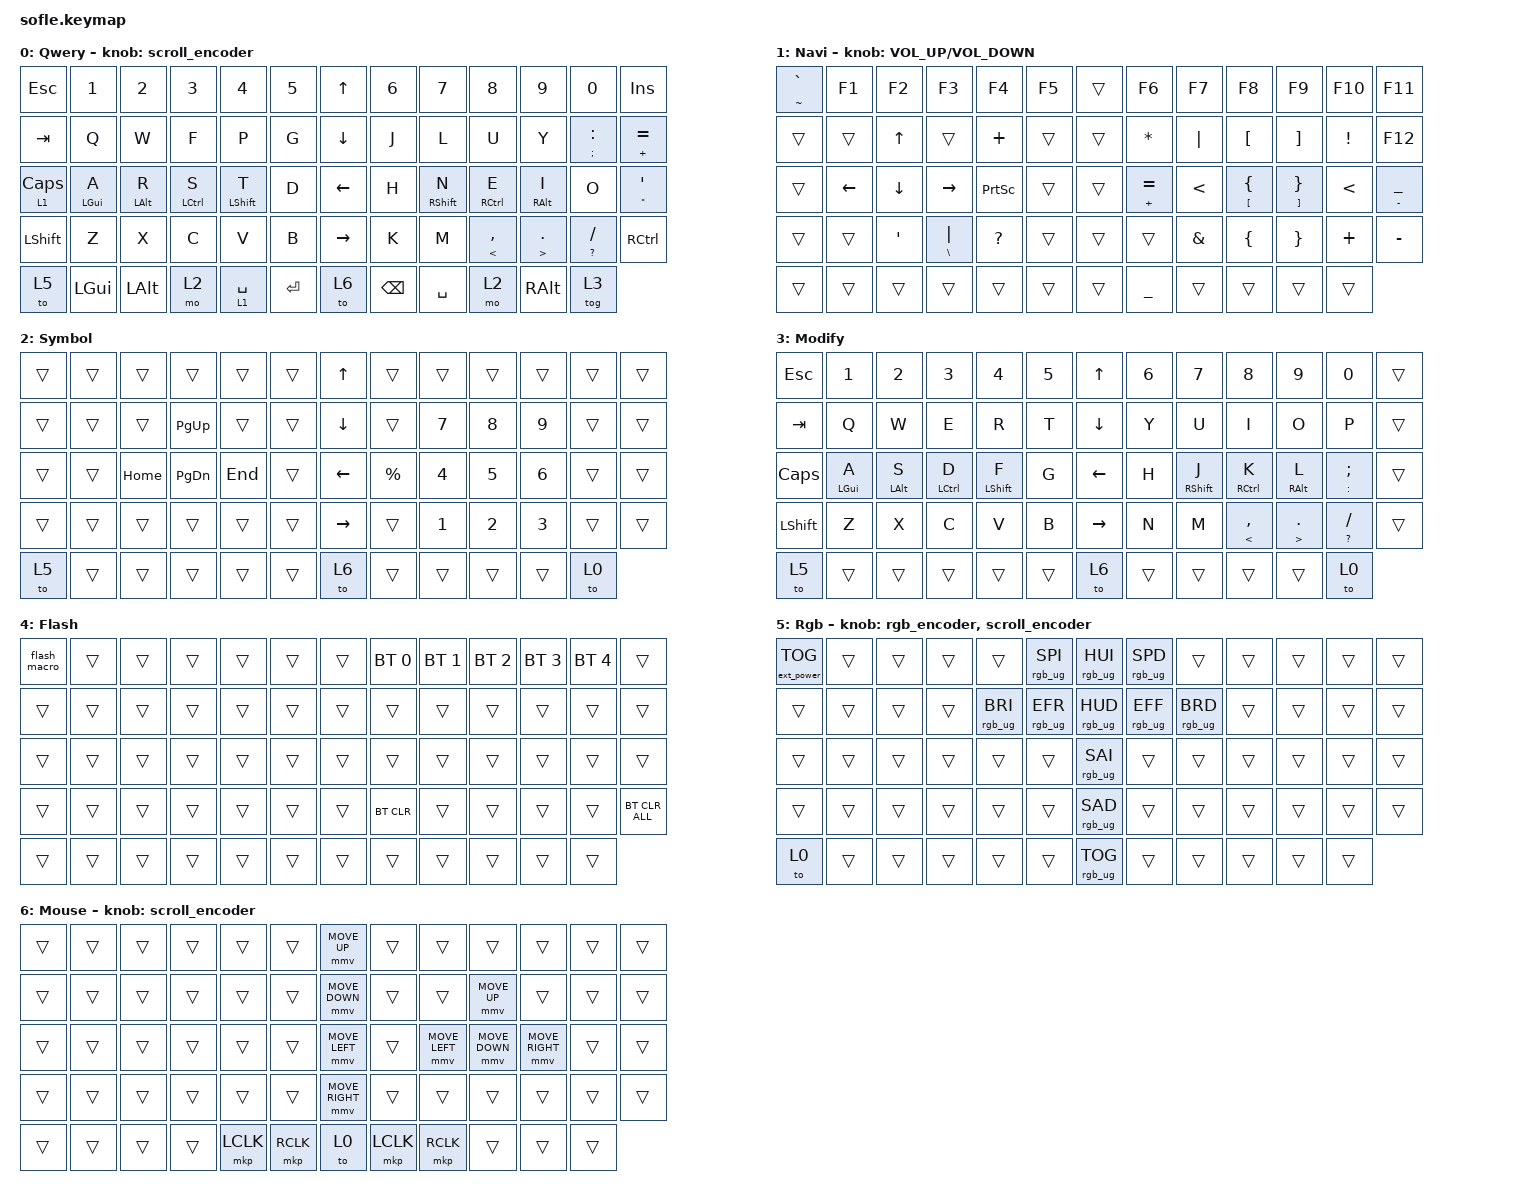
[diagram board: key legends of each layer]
#define ZMK_POINTING_DEFAULT_MOVE_VAL 1200  // 600
#define ZMK_POINTING_DEFAULT_SCRL_VAL 25   // 10

#include <input/processors.dtsi>
#include <zephyr/dt-bindings/input/input-event-codes.h>
#include <behaviors.dtsi>
#include <dt-bindings/zmk/bt.h>
#include <dt-bindings/zmk/ext_power.h>
#include <dt-bindings/zmk/keys.h>
#include <dt-bindings/zmk/pointing.h>
#include <dt-bindings/zmk/pointing.h>
#include <dt-bindings/zmk/pointing.h>
#include <dt-bindings/zmk/rgb.h>

&mmv_input_listener { input-processors = <&zip_xy_scaler 2 1>; };

&msc_input_listener { input-processors = <&zip_scroll_scaler 2 1>; };

&msc {
    acceleration-exponent = <1>;      // 0
    time-to-max-speed-ms = <100>;       // 300
    delay-ms = <0>;                   // 0
};

&mmv {
    time-to-max-speed-ms = <500>;
    acceleration-exponent = <1>;
    trigger-period-ms = <16>;
};

/ {
    macros {
        flash_macro: flash_macro {
            compatible = "zmk,behavior-macro";
            #binding-cells = <0>;
            bindings = <&bootloader>;
        };
    };

    behaviors {
        hm: homerow_mods {
            compatible = "zmk,behavior-hold-tap";
            label = "HOMEROW_MODS";
            bindings = <&kp>, <&kp>;

            #binding-cells = <2>;
            tapping-term-ms = <200>;
            quick-tap-ms = <180>;
            flavor = "tap-preferred";
        };

        ltq: ltq {
            compatible = "zmk,behavior-hold-tap";
            label = "LTQ";
            bindings = <&mo>, <&kp>;

            #binding-cells = <2>;
            tapping-term-ms = <200>;
            quick-tap-ms = <180>;
        };

        as: auto_shift {
            compatible = "zmk,behavior-hold-tap";
            label = "AUTO_SHIFT";
            bindings = <&kp>, <&kp>;

            #binding-cells = <2>;
            tapping-term-ms = <135>;
            quick-tap-ms = <0>;
        };

        rgb_encoder: rgb_encoder {
            compatible = "zmk,behavior-sensor-rotate";
            label = "RGB_ENCODER";
            #sensor-binding-cells = <0>;
            bindings = <&rgb_ug RGB_BRI>, <&rgb_ug RGB_BRD>;
        };

        scroll_encoder: scroll_encoder {
            compatible = "zmk,behavior-sensor-rotate";
            #sensor-binding-cells = <0>;
            bindings = <&msc SCRL_UP>, <&msc SCRL_DOWN>;
            tap-ms = <100>;
        };
    };

    combos {
        compatible = "zmk,combos";

        esc {
            bindings = <&kp ESCAPE>;
            key-positions = <13 14>;
        };

        left_bkt {
            bindings = <&kp LEFT_BRACKET>;
            key-positions = <17 16>;
        };

        right_bkt {
            bindings = <&kp RIGHT_BRACKET>;
            key-positions = <21 22>;
        };

        left_par {
            bindings = <&kp LEFT_PARENTHESIS>;
            key-positions = <29 30>;
        };

        right_par {
            bindings = <&kp RIGHT_PARENTHESIS>;
            key-positions = <34 35>;
        };

        left_brace {
            bindings = <&kp LEFT_BRACE>;
            key-positions = <42 43>;
        };

        right_brace {
            bindings = <&kp RIGHT_BRACE>;
            key-positions = <47 48>;
        };

        bac {
            bindings = <&kp BACKSLASH>;
            key-positions = <18 20>;
        };

        pipe {
            bindings = <&kp PIPE>;
            key-positions = <31 33>;
        };
    };

    keymap {
        compatible = "zmk,keymap";

        Qwery {
            bindings = <
&kp ESCAPE       &kp N1          &kp N2          &kp N3              &kp N4            &kp N5          &kp UP_ARROW     &kp N6        &kp N7             &kp N8               &kp N9                   &kp N0               &kp INS
&kp TAB          &kp Q           &kp W           &kp F               &kp P             &kp G           &kp DOWN_ARROW   &kp J         &kp L              &kp U                &kp Y                    &as SEMICOLON COLON  &as PLUS EQUAL
&ltq 1 CAPSLOCK  &hm LEFT_GUI A  &hm LEFT_ALT R  &hm LEFT_CONTROL S  &hm LEFT_SHIFT T  &kp D           &kp LEFT_ARROW   &kp H         &hm RIGHT_SHIFT N  &hm RIGHT_CONTROL E  &hm RIGHT_ALT I          &kp O                &as DOUBLE_QUOTES SQT
&kp LEFT_SHIFT   &kp Z           &kp X           &kp C               &kp V             &kp B           &kp RIGHT_ARROW  &kp K         &kp M              &as LESS_THAN COMMA  &as GREATER_THAN PERIOD  &as QUESTION SLASH   &kp RIGHT_CONTROL
&to 5            &kp LEFT_GUI    &kp LEFT_ALT    &mo 2               &ltq 1 SPACE      &kp ENTER       &to 6            &kp BACKSPACE &kp SPACE          &mo 2                &kp RALT                 &tog 3 
            >;

            sensor-bindings = <&scroll_encoder>;
            display-name = "Qwery";
        };

        Navi {
            bindings = <
&as TILDE GRAVE      &kp F1                &kp F2             &kp F3             &kp F4       &kp F5   &trans  &kp F6           &kp F7          &kp F8                         &kp F9                              &kp F10          &kp F11
&trans               &trans                &kp UP_ARROW       &trans             &kp PLUS     &trans   &trans  &kp ASTERISK     &kp PIPE        &kp LEFT_BRACKET               &kp RIGHT_BRACKET                   &kp EXCLAMATION  &kp F12
&trans               &kp LEFT_ARROW        &kp DOWN_ARROW     &kp RIGHT_ARROW    &kp PSCRN    &trans   &trans  &as PLUS EQUAL   &kp LESS_THAN   &as LEFT_BRACKET LEFT_BRACE    &as RIGHT_BRACKET RIGHT_BRACE       &kp LESS_THAN    &as MINUS UNDERSCORE
&trans               &trans                &kp SINGLE_QUOTE   &as BACKSLASH PIPE &kp QUESTION &trans   &trans  &trans           &kp AMPERSAND   &kp LEFT_BRACE                 &kp RIGHT_BRACE                     &kp PLUS         &kp MINUS
&trans               &trans                &trans             &trans             &trans       &trans   &trans  &kp UNDERSCORE   &trans          &trans                         &trans                              &trans
            >;

            label = "Navi";
            sensor-bindings = <&inc_dec_kp C_VOLUME_UP C_VOLUME_DOWN>;
        };

        Symbol {
            bindings = <
&trans  &trans  &trans       &trans             &trans        &trans           &kp UP_ARROW     &trans         &trans       &trans      &trans       &trans     &trans
&trans  &trans  &trans       &kp PAGE_UP        &trans        &trans           &kp DOWN_ARROW   &trans         &kp N7       &kp N8      &kp N9   &trans     &trans
&trans  &trans  &kp HOME     &kp PAGE_DOWN      &kp END       &trans           &kp LEFT_ARROW   &kp PRCNT      &kp N4       &kp N5      &kp N6   &trans     &trans
&trans  &trans  &trans       &trans             &trans        &trans           &kp RIGHT_ARROW  &trans         &kp N1       &kp N2      &kp N3   &trans     &trans
&to 5   &trans  &trans       &trans             &trans        &trans           &to 6            &trans         &trans       &trans      &trans       &to 0     


            >;

            label = "Symbol";
        };

        Modify {
            bindings = <
&kp ESCAPE       &kp N1          &kp N2          &kp N3              &kp N4            &kp N5           &kp UP_ARROW     &kp N6        &kp N7             &kp N8                &kp N9                   &kp N0               &trans
&kp TAB          &kp Q           &kp W           &kp E               &kp R             &kp T            &kp DOWN_ARROW   &kp Y         &kp U              &kp I                 &kp O                    &kp P                &trans      
&kp CAPSLOCK     &hm LEFT_GUI A  &hm LEFT_ALT S  &hm LEFT_CONTROL D  &hm LEFT_SHIFT F  &kp G            &kp LEFT_ARROW   &kp H         &hm RIGHT_SHIFT J  &hm RIGHT_CONTROL K   &hm RIGHT_ALT L          &as COLON SEMICOLON  &trans
&kp LEFT_SHIFT   &kp Z           &kp X           &kp C               &kp V             &kp B            &kp RIGHT_ARROW  &kp N         &kp M              &as LESS_THAN COMMA   &as GREATER_THAN PERIOD  &as QUESTION SLASH   &trans
&to 5            &trans          &trans          &trans              &trans            &trans           &to 6            &trans        &trans             &trans                &trans                   &to 0
            >;

            label = "Modify";
        };

        Flash {
            bindings = <
&flash_macro  &trans  &trans  &trans  &trans  &trans    &trans  &bt BT_SEL 0  &bt BT_SEL 1  &bt BT_SEL 2  &bt BT_SEL 3  &bt BT_SEL 4  &trans
&trans        &trans  &trans  &trans  &trans  &trans    &trans  &trans        &trans        &trans        &trans        &trans        &trans
&trans        &trans  &trans  &trans  &trans  &trans    &trans  &trans        &trans        &trans        &trans        &trans        &trans
&trans        &trans  &trans  &trans  &trans  &trans    &trans  &bt BT_CLR    &trans        &trans        &trans        &trans        &bt BT_CLR_ALL
&trans        &trans  &trans  &trans  &trans  &trans    &trans  &trans        &trans        &trans        &trans        &trans
            >;

            display-name = "Flash";
        };

        Rgb {
            bindings = <
&ext_power EP_TOG  &trans  &trans  &trans  &trans           &rgb_ug RGB_SPI    &rgb_ug RGB_HUI  &rgb_ug RGB_SPD  &trans           &trans  &trans  &trans  &trans
&trans             &trans  &trans  &trans  &rgb_ug RGB_BRI  &rgb_ug RGB_EFR    &rgb_ug RGB_HUD  &rgb_ug RGB_EFF  &rgb_ug RGB_BRD  &trans  &trans  &trans  &trans
&trans             &trans  &trans  &trans  &trans           &trans             &rgb_ug RGB_SAI  &trans           &trans           &trans  &trans  &trans  &trans
&trans             &trans  &trans  &trans  &trans           &trans             &rgb_ug RGB_SAD  &trans           &trans           &trans  &trans  &trans  &trans
&to 0              &trans  &trans  &trans  &trans           &trans             &rgb_ug RGB_TOG  &trans           &trans           &trans  &trans  &trans
            >;

            label = "Rgb";
            sensor-bindings = <&rgb_encoder &scroll_encoder>;
        };

        Mouse {
            bindings = <
&trans  &trans  &trans  &trans  &trans     &trans       &mmv MOVE_UP     &trans     &trans          &trans          &trans           &trans  &trans
&trans  &trans  &trans  &trans  &trans     &trans       &mmv MOVE_DOWN   &trans     &trans          &mmv MOVE_UP    &trans           &trans  &trans
&trans  &trans  &trans  &trans  &trans     &trans       &mmv MOVE_LEFT   &trans     &mmv MOVE_LEFT  &mmv MOVE_DOWN  &mmv MOVE_RIGHT  &trans  &trans
&trans  &trans  &trans  &trans  &trans     &trans       &mmv MOVE_RIGHT  &trans     &trans          &trans          &trans           &trans  &trans
&trans  &trans  &trans  &trans  &mkp LCLK  &mkp RCLK    &to 0            &mkp LCLK  &mkp RCLK       &trans          &trans           &trans
            >;

            label = "Mouse";
            sensor-bindings = <&scroll_encoder>;
        };
    };

    conditional_layers {
        compatible = "zmk,conditional-layers";

        Flash {
            if-layers = <2 3>;
            then-layer = <4>;
        };
    };
};
